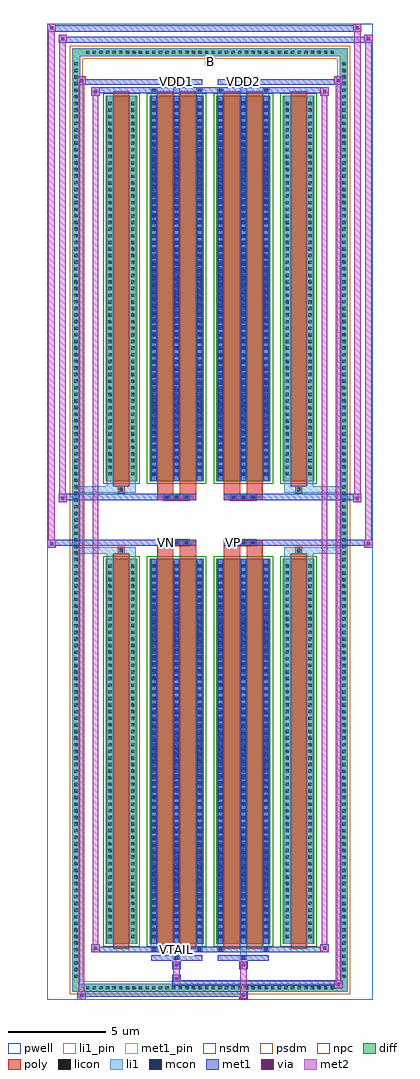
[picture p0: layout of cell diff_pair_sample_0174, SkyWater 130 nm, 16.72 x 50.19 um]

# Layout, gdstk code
import gdstk
lib = gdstk.Library(unit=1e-6, precision=5e-09)
def R(c, l, rs):  # rectangles x0, y0, x1, y1
    for r in rs: c.add(gdstk.rectangle(r[:2], r[2:], *l))
def A(c, l, x, y, w, h, nx, ny, dx, dy):  # array of equal rectangles
    R(c, l, [(x+i*dx, y+j*dy, x+i*dx+w, y+j*dy+h) for i in range(nx) for j in range(ny)])
def P(c, l, *ps):  # polygons
    for p in ps: c.add(gdstk.Polygon(p, *l))
pwell = (64, 44)
diff = (65, 20)
poly = (66, 20)
licon = (66, 44)
li1_pin = (67, 16)
li1 = (67, 20)
mcon = (67, 44)
met1_pin = (68, 16)
met1 = (68, 20)
via = (68, 44)
met2 = (69, 20)
nsdm = (93, 44)
psdm = (94, 20)
npc = (95, 20)

diff_pair_sample_0174 = lib.new_cell('diff_pair_sample_0174')
R(diff_pair_sample_0174, pwell, [(-8.36,-24.66,8.36,25.53), (-5.68,-22.85,-0.01,-0.805), (0.01,-22.85,5.68,-0.805), (-5.68,0.805,-0.01,22.85), (0.01,0.805,5.68,22.85)])
A(diff_pair_sample_0174, diff, -6.495, -24.26, 0.41, 0.41, 38, 2, 0.34, 48.11)
A(diff_pair_sample_0174, diff, -7.09, -23.665, 0.41, 0.41, 1, 139, 0, 0.34)
A(diff_pair_sample_0174, diff, 6.68, -23.665, 0.41, 0.41, 1, 139, 0, 0.34)
R(diff_pair_sample_0174, diff, [(-6.495,-24.26,6.495,-23.85), (-7.09,-23.665,-6.68,23.665), (6.68,-23.665,7.09,23.665), (-5.37,-21.805,-3.75,-1.985), (-3.11,-21.805,-0.32,-1.985), (0.32,-21.805,3.11,-1.985), (3.75,-21.805,5.37,-1.985), (-5.37,1.985,-3.75,21.805), (-3.11,1.985,-0.32,21.805), (0.32,1.985,3.11,21.805), (3.75,1.985,5.37,21.805), (-6.495,23.85,6.495,24.26)])
P(diff_pair_sample_0174, diff, [(7.09,24.26),(-7.09,24.26),(-7.09,-23.85),(-6.68,-23.85),(-6.68,23.85),(6.68,23.85),(6.68,-23.85),(-6.68,-23.85),(-7.09,-23.85),(-7.09,-24.26),(7.09,-24.26)])
A(diff_pair_sample_0174, poly, -2.38, -1.335, 0.33, 0.33, 3, 2, 0.5, 2.34)
A(diff_pair_sample_0174, poly, 1.05, -1.335, 0.33, 0.33, 3, 2, 0.5, 2.34)
R(diff_pair_sample_0174, poly, [(-4.98,-22.055,-4.14,-1.735), (-2.72,-22.055,-1.88,-1.735), (-1.55,-22.055,-0.71,-1.735), (0.71,-22.055,1.55,-1.735), (1.88,-22.055,2.72,-1.735), (4.14,-22.055,4.98,-1.735), (-4.725,-1.735,-4.395,-1.405), (-4.725,-1.735,-4.395,-1.405), (-2.72,-1.735,-1.88,-1.335), (-1.55,-1.735,-0.71,-1.335), (0.71,-1.735,1.55,-1.335), (1.88,-1.735,2.72,-1.335), (4.395,-1.735,4.725,-1.405), (4.395,-1.735,4.725,-1.405), (-2.72,-1.335,-0.71,-1.005), (0.71,-1.335,2.72,-1.005), (-2.72,1.005,-0.71,1.335), (0.71,1.005,2.72,1.335), (-2.72,1.335,-1.88,1.735), (-1.55,1.335,-0.71,1.735), (0.71,1.335,1.55,1.735), (1.88,1.335,2.72,1.735), (-4.725,1.405,-4.395,1.735), (-4.725,1.405,-4.395,1.735), (4.395,1.405,4.725,1.735), (4.395,1.405,4.725,1.735), (-4.98,1.735,-4.14,22.055), (-2.72,1.735,-1.88,22.055), (-1.55,1.735,-0.71,22.055), (0.71,1.735,1.55,22.055), (1.88,1.735,2.72,22.055), (4.14,1.735,4.98,22.055)])
A(diff_pair_sample_0174, licon, -6.375, -24.14, 0.17, 0.17, 38, 2, 0.34, 48.11)
A(diff_pair_sample_0174, licon, -6.97, -23.545, 0.17, 0.17, 1, 139, 0, 0.34)
A(diff_pair_sample_0174, licon, 6.8, -23.545, 0.17, 0.17, 1, 139, 0, 0.34)
A(diff_pair_sample_0174, licon, -5.23, -21.5, 0.17, 0.17, 1, 57, 0, 0.34)
A(diff_pair_sample_0174, licon, -4.06, -21.5, 0.17, 0.17, 1, 57, 0, 0.34)
A(diff_pair_sample_0174, licon, -2.97, -21.5, 0.17, 0.17, 3, 57, 1.17, 0.34)
A(diff_pair_sample_0174, licon, 0.46, -21.5, 0.17, 0.17, 3, 57, 1.17, 0.34)
A(diff_pair_sample_0174, licon, 3.89, -21.5, 0.17, 0.17, 1, 57, 0, 0.34)
A(diff_pair_sample_0174, licon, 5.06, -21.5, 0.17, 0.17, 1, 57, 0, 0.34)
A(diff_pair_sample_0174, licon, -2.3, -1.255, 0.17, 0.17, 3, 2, 0.5, 2.34)
A(diff_pair_sample_0174, licon, 1.13, -1.255, 0.17, 0.17, 3, 2, 0.5, 2.34)
A(diff_pair_sample_0174, licon, -5.23, 2.29, 0.17, 0.17, 1, 57, 0, 0.34)
A(diff_pair_sample_0174, licon, -4.06, 2.29, 0.17, 0.17, 1, 57, 0, 0.34)
A(diff_pair_sample_0174, licon, -2.97, 2.29, 0.17, 0.17, 3, 57, 1.17, 0.34)
A(diff_pair_sample_0174, licon, 0.46, 2.29, 0.17, 0.17, 3, 57, 1.17, 0.34)
A(diff_pair_sample_0174, licon, 3.89, 2.29, 0.17, 0.17, 1, 57, 0, 0.34)
A(diff_pair_sample_0174, licon, 5.06, 2.29, 0.17, 0.17, 1, 57, 0, 0.34)
R(diff_pair_sample_0174, licon, [(-4.645,-1.655,-4.475,-1.485), (4.475,-1.655,4.645,-1.485), (-4.645,1.485,-4.475,1.655), (4.475,1.485,4.645,1.655)])
R(diff_pair_sample_0174, li1_pin, [(-0.25,23.35,0.25,23.85)])
A(diff_pair_sample_0174, li1, -6.455, -24.22, 0.33, 0.33, 38, 2, 0.34, 48.11)
A(diff_pair_sample_0174, li1, -7.05, -23.625, 0.33, 0.33, 1, 139, 0, 0.34)
A(diff_pair_sample_0174, li1, 6.72, -23.625, 0.33, 0.33, 1, 139, 0, 0.34)
A(diff_pair_sample_0174, li1, -3.05, -21.805, 0.33, 19.82, 3, 2, 1.17, 23.79)
A(diff_pair_sample_0174, li1, 0.38, -21.805, 0.33, 19.82, 3, 2, 1.17, 23.79)
A(diff_pair_sample_0174, li1, -5.31, -21.58, 0.33, 0.33, 1, 57, 0, 0.34)
A(diff_pair_sample_0174, li1, -4.14, -21.58, 0.33, 0.33, 1, 57, 0, 0.34)
A(diff_pair_sample_0174, li1, -3.05, -21.58, 0.33, 0.33, 3, 57, 1.17, 0.34)
A(diff_pair_sample_0174, li1, 0.38, -21.58, 0.33, 0.33, 3, 57, 1.17, 0.34)
A(diff_pair_sample_0174, li1, 3.81, -21.58, 0.33, 0.33, 1, 57, 0, 0.34)
A(diff_pair_sample_0174, li1, 4.98, -21.58, 0.33, 0.33, 1, 57, 0, 0.34)
A(diff_pair_sample_0174, li1, -2.97, -21.52, 0.17, 0.17, 3, 54, 1.17, 0.36)
A(diff_pair_sample_0174, li1, -2.97, -21.52, 0.17, 19.25, 3, 2, 1.17, 23.79)
A(diff_pair_sample_0174, li1, 0.46, -21.52, 0.17, 0.17, 3, 54, 1.17, 0.36)
A(diff_pair_sample_0174, li1, 0.46, -21.52, 0.17, 19.25, 3, 2, 1.17, 23.79)
A(diff_pair_sample_0174, li1, -2.38, -1.335, 0.33, 0.33, 3, 2, 0.5, 2.34)
A(diff_pair_sample_0174, li1, 1.05, -1.335, 0.33, 0.33, 3, 2, 0.5, 2.34)
A(diff_pair_sample_0174, li1, -5.31, 2.21, 0.33, 0.33, 1, 57, 0, 0.34)
A(diff_pair_sample_0174, li1, -4.14, 2.21, 0.33, 0.33, 1, 57, 0, 0.34)
A(diff_pair_sample_0174, li1, -3.05, 2.21, 0.33, 0.33, 3, 57, 1.17, 0.34)
A(diff_pair_sample_0174, li1, 0.38, 2.21, 0.33, 0.33, 3, 57, 1.17, 0.34)
A(diff_pair_sample_0174, li1, 3.81, 2.21, 0.33, 0.33, 1, 57, 0, 0.34)
A(diff_pair_sample_0174, li1, 4.98, 2.21, 0.33, 0.33, 1, 57, 0, 0.34)
A(diff_pair_sample_0174, li1, -2.97, 2.27, 0.17, 0.17, 3, 54, 1.17, 0.36)
A(diff_pair_sample_0174, li1, 0.46, 2.27, 0.17, 0.17, 3, 54, 1.17, 0.36)
R(diff_pair_sample_0174, li1, [(-7.09,-24.26,-6.68,-23.85), (-7.09,-24.26,-6.68,-23.85), (-6.68,-24.26,6.68,-23.85), (6.68,-24.26,7.09,-23.85), (6.68,-24.26,7.09,-23.85), (-7.09,-23.85,-6.68,23.85), (6.68,-23.85,7.09,23.85), (-1.88,-22.61,-1.55,-21.805), (-1.8,-22.61,-1.63,-22.44), (1.55,-22.61,1.88,-21.805), (1.63,-22.61,1.8,-22.44), (-3.05,-22.18,-2.72,-21.805), (-2.97,-22.18,-2.8,-22.01), (-0.71,-22.18,-0.38,-21.805), (-0.63,-22.18,-0.46,-22.01), (0.38,-22.18,0.71,-21.805), (0.46,-22.18,0.63,-22.01), (2.72,-22.18,3.05,-21.805), (2.8,-22.18,2.97,-22.01), (-5.31,-21.805,-4.98,-1.985), (-4.14,-21.805,-3.81,-1.985), (3.81,-21.805,4.14,-1.985), (4.98,-21.805,5.31,-1.985), (-5.31,-1.985,-4.98,-1.405), (-4.14,-1.985,-3.81,-1.405), (3.81,-1.985,4.14,-1.405), (4.98,-1.985,5.31,-1.405), (-7.09,-1.735,-4.725,-1.405), (-5.31,-1.735,-4.725,-1.405), (-4.725,-1.735,-4.395,-1.405), (-4.395,-1.735,-3.81,-1.405), (3.81,-1.735,4.395,-1.405), (4.395,-1.735,4.725,-1.405), (4.395,-1.735,7.09,-1.405), (4.725,-1.735,5.31,-1.405), (-7.09,1.405,-4.725,1.735), (-5.31,1.405,-4.725,1.735), (-5.31,1.405,-4.98,1.985), (-4.725,1.405,-4.395,1.735), (-4.395,1.405,-3.81,1.735), (-4.14,1.405,-3.81,1.985), (3.81,1.405,4.395,1.735), (3.81,1.405,4.14,1.985), (4.395,1.405,4.725,1.735), (4.395,1.405,7.09,1.735), (4.725,1.405,5.31,1.735), (4.98,1.405,5.31,1.985), (-5.31,1.985,-4.98,21.805), (-4.14,1.985,-3.81,21.805), (3.81,1.985,4.14,21.805), (4.98,1.985,5.31,21.805), (-3.05,21.805,-2.72,22.18), (-1.88,21.805,-1.55,22.61), (-0.71,21.805,-0.38,22.18), (0.38,21.805,0.71,22.18), (1.55,21.805,1.88,22.61), (2.72,21.805,3.05,22.18), (-2.97,22.01,-2.8,22.18), (-0.63,22.01,-0.46,22.18), (0.46,22.01,0.63,22.18), (2.8,22.01,2.97,22.18), (-1.8,22.44,-1.63,22.61), (1.63,22.44,1.8,22.61), (-7.09,23.85,-6.68,24.26), (-7.09,23.85,-6.68,24.26), (-6.68,23.85,6.68,24.26), (6.68,23.85,7.09,24.26), (6.68,23.85,7.09,24.26)])
A(diff_pair_sample_0174, mcon, -2.97, -21.52, 0.17, 0.17, 3, 54, 1.17, 0.36)
A(diff_pair_sample_0174, mcon, 0.46, -21.52, 0.17, 0.17, 3, 54, 1.17, 0.36)
A(diff_pair_sample_0174, mcon, -2.3, -1.255, 0.17, 0.17, 3, 2, 0.5, 2.34)
A(diff_pair_sample_0174, mcon, 1.13, -1.255, 0.17, 0.17, 3, 2, 0.5, 2.34)
A(diff_pair_sample_0174, mcon, -2.97, 2.27, 0.17, 0.17, 3, 54, 1.17, 0.36)
A(diff_pair_sample_0174, mcon, 0.46, 2.27, 0.17, 0.17, 3, 54, 1.17, 0.36)
R(diff_pair_sample_0174, mcon, [(-1.8,-22.61,-1.63,-22.44), (1.63,-22.61,1.8,-22.44), (-2.97,-22.18,-2.8,-22.01), (-0.63,-22.18,-0.46,-22.01), (0.46,-22.18,0.63,-22.01), (2.8,-22.18,2.97,-22.01), (-2.97,22.01,-2.8,22.18), (-0.63,22.01,-0.46,22.18), (0.46,22.01,0.63,22.18), (2.8,22.01,2.97,22.18), (-1.8,22.44,-1.63,22.61), (1.63,22.44,1.8,22.61)])
R(diff_pair_sample_0174, met1_pin, [(-1.85,-22.22,-1.58,-21.95), (-2.35,-1.295,-2.08,-1.025), (1.08,-1.295,1.35,-1.025), (-1.85,22.4,-1.58,22.67), (1.58,22.4,1.85,22.67)])
A(diff_pair_sample_0174, met1, -3.03, -21.805, 0.29, 19.82, 3, 2, 1.17, 23.79)
A(diff_pair_sample_0174, met1, 0.4, -21.805, 0.29, 19.82, 3, 2, 1.17, 23.79)
A(diff_pair_sample_0174, met1, -3.03, -21.58, 0.29, 0.29, 3, 54, 1.17, 0.36)
A(diff_pair_sample_0174, met1, 0.4, -21.58, 0.29, 0.29, 3, 54, 1.17, 0.36)
A(diff_pair_sample_0174, met1, -2.36, -1.315, 0.29, 0.29, 3, 2, 0.5, 2.34)
A(diff_pair_sample_0174, met1, 1.07, -1.315, 0.29, 0.29, 3, 2, 0.5, 2.34)
A(diff_pair_sample_0174, met1, -3.03, 2.21, 0.29, 0.29, 3, 54, 1.17, 0.36)
A(diff_pair_sample_0174, met1, 0.4, 2.21, 0.29, 0.29, 3, 54, 1.17, 0.36)
R(diff_pair_sample_0174, met1, [(-6.82,-24.66,-6.39,-24.23), (1.5,-24.66,1.93,-24.23), (-6.82,-24.52,1.93,-24.23), (6.39,-24.09,6.82,-23.66), (-1.93,-23.95,6.82,-23.66), (-1.93,-23.81,-1.5,-23.38), (-1.93,-23.1,-1.5,-22.67), (1.5,-23.1,1.93,-22.67), (-3.03,-22.67,-0.4,-22.38), (-1.86,-22.67,-1.57,-22.38), (0.4,-22.67,3.03,-22.38), (1.57,-22.67,1.86,-22.38), (-6.11,-22.24,-5.68,-21.81), (-6.11,-22.24,-3.03,-21.95), (-3.03,-22.24,-2.74,-21.95), (-3.03,-22.24,-0.4,-21.95), (-0.69,-22.24,-0.4,-21.95), (-0.4,-22.24,0.4,-21.95), (0.4,-22.24,0.69,-21.95), (0.4,-22.24,3.03,-21.95), (2.74,-22.24,3.03,-21.95), (3.03,-22.24,6.11,-21.95), (5.68,-22.24,6.11,-21.81), (-8.36,-1.435,-7.93,-1.005), (7.93,-1.435,8.36,-1.005), (-8.36,-1.335,-0.71,-1.005), (-2.72,-1.335,-0.71,-1.005), (0.71,-1.335,2.72,-1.005), (0.71,-1.335,8.36,-1.005), (-7.79,0.905,-7.36,1.335), (7.36,0.905,7.79,1.335), (-7.79,1.005,-2.72,1.335), (-2.72,1.005,-0.71,1.335), (0.71,1.005,2.72,1.335), (2.72,1.005,7.79,1.335), (-6.11,21.81,-5.68,22.24), (5.68,21.81,6.11,22.24), (-6.11,21.95,-3.03,22.24), (-3.03,21.95,-2.74,22.24), (-3.03,21.95,-0.4,22.24), (-0.69,21.95,-0.4,22.24), (-0.4,21.95,0.4,22.24), (0.4,21.95,0.69,22.24), (0.4,21.95,3.03,22.24), (2.74,21.95,3.03,22.24), (3.03,21.95,6.11,22.24), (-6.82,22.38,-6.39,22.81), (-6.82,22.38,-3.03,22.67), (-3.03,22.38,-0.4,22.67), (-1.86,22.38,-1.57,22.67), (0.4,22.38,3.03,22.67), (1.57,22.38,1.86,22.67), (3.03,22.38,6.82,22.67), (6.39,22.38,6.82,22.81), (-7.79,24.53,-7.36,24.96), (-7.79,24.53,-5.68,24.86), (-5.68,24.53,5.68,24.86), (5.68,24.53,8.36,24.86), (7.93,24.53,8.36,24.96), (-8.36,25.1,-7.93,25.53), (-8.36,25.1,-5.68,25.43), (-5.68,25.1,5.68,25.43), (5.68,25.1,7.79,25.43), (7.36,25.1,7.79,25.53)])
R(diff_pair_sample_0174, via, [(-6.68,-24.52,-6.53,-24.37), (1.64,-24.52,1.79,-24.37), (6.53,-23.95,6.68,-23.8), (-1.79,-23.67,-1.64,-23.52), (-1.79,-22.96,-1.64,-22.81), (1.64,-22.96,1.79,-22.81), (-5.97,-22.1,-5.82,-21.95), (5.82,-22.1,5.97,-21.95), (-8.22,-1.295,-8.07,-1.145), (8.07,-1.295,8.22,-1.145), (-7.65,1.045,-7.5,1.195), (7.5,1.045,7.65,1.195), (-5.97,21.95,-5.82,22.1), (5.82,21.95,5.97,22.1), (-6.68,22.52,-6.53,22.67), (6.53,22.52,6.68,22.67), (-7.65,24.67,-7.5,24.82), (8.07,24.67,8.22,24.82), (-8.22,25.24,-8.07,25.39), (7.5,25.24,7.65,25.39)])
R(diff_pair_sample_0174, met2, [(-6.82,-24.66,-6.39,-24.23), (-6.75,-24.66,-6.46,22.81), (-6.46,-24.66,-6.39,-24.23), (-6.77,-24.61,-6.44,-24.28), (1.55,-24.61,1.88,-24.28), (1.55,-24.28,1.88,-23.05), (6.39,-24.09,6.82,-23.66), (6.46,-24.09,6.75,22.81), (6.75,-24.09,6.82,-23.66), (6.44,-24.04,6.77,-23.71), (-1.88,-23.76,-1.55,-23.43), (-1.88,-23.43,-1.55,-23.05), (-1.88,-23.05,-1.55,-22.72), (1.55,-23.05,1.88,-22.72), (-6.11,-22.24,-5.68,-21.81), (-6.04,-22.24,-5.75,22.24), (-5.75,-22.24,-5.68,-21.81), (5.68,-22.24,6.11,-21.81), (5.75,-22.24,6.04,22.24), (6.04,-22.24,6.11,-21.81), (-6.06,-22.19,-5.73,-21.86), (5.73,-22.19,6.06,-21.86), (-8.36,-1.435,-7.93,-1.005), (-8.31,-1.435,-7.98,25.53), (-7.98,-1.435,-7.93,-1.005), (7.93,-1.435,8.36,-1.005), (7.98,-1.435,8.31,24.96), (8.31,-1.435,8.36,-1.005), (-8.31,-1.385,-7.98,-1.055), (7.98,-1.385,8.31,-1.055), (-7.79,0.905,-7.36,1.335), (-7.74,0.905,-7.41,24.96), (-7.41,0.905,-7.36,1.335), (7.36,0.905,7.79,1.335), (7.41,0.905,7.74,25.53), (7.74,0.905,7.79,1.335), (-7.74,0.955,-7.41,1.285), (7.41,0.955,7.74,1.285), (-6.11,21.81,-5.68,22.24), (-5.75,21.81,-5.68,22.24), (5.68,21.81,6.11,22.24), (6.04,21.81,6.11,22.24), (-6.06,21.86,-5.73,22.19), (5.73,21.86,6.06,22.19), (-6.82,22.38,-6.39,22.81), (-6.46,22.38,-6.39,22.81), (6.39,22.38,6.82,22.81), (6.75,22.38,6.82,22.81), (-6.77,22.43,-6.44,22.76), (6.44,22.43,6.77,22.76), (-7.79,24.53,-7.36,24.96), (-7.41,24.53,-7.36,24.96), (7.93,24.53,8.36,24.96), (8.31,24.53,8.36,24.96), (-7.74,24.58,-7.41,24.91), (7.98,24.58,8.31,24.91), (-8.36,25.1,-7.93,25.53), (-7.98,25.1,-7.93,25.53), (7.36,25.1,7.79,25.53), (7.74,25.1,7.79,25.53), (-8.31,25.15,-7.98,25.48), (7.41,25.15,7.74,25.48)])
R(diff_pair_sample_0174, nsdm, [(-5.5,-21.935,-3.62,-1.855), (-3.24,-21.935,-0.19,-1.855), (0.19,-21.935,3.24,-1.855), (3.62,-21.935,5.5,-1.855), (-5.5,1.855,-3.62,21.935), (-3.24,1.855,-0.19,21.935), (0.19,1.855,3.24,21.935), (3.62,1.855,5.5,21.935)])
P(diff_pair_sample_0174, psdm, [(7.22,24.39),(-7.22,24.39),(-7.22,-23.72),(-6.55,-23.72),(-6.55,23.72),(6.55,23.72),(6.55,-23.72),(-6.55,-23.72),(-7.22,-23.72),(-7.22,-24.39),(7.22,-24.39)])
A(diff_pair_sample_0174, npc, -2.4, -1.355, 0.37, 0.37, 3, 2, 0.5, 2.34)
A(diff_pair_sample_0174, npc, 1.03, -1.355, 0.37, 0.37, 3, 2, 0.5, 2.34)
R(diff_pair_sample_0174, npc, [(-4.745,-1.755,-4.375,-1.385), (4.375,-1.755,4.745,-1.385), (-2.4,-1.355,-1.53,-0.985), (-2.4,-1.355,-1.53,-0.985), (-1.9,-1.355,-1.03,-0.985), (-1.9,-1.355,-1.03,-0.985), (1.03,-1.355,1.9,-0.985), (1.03,-1.355,1.9,-0.985), (1.53,-1.355,2.4,-0.985), (1.53,-1.355,2.4,-0.985), (-2.4,0.985,-1.53,1.355), (-2.4,0.985,-1.53,1.355), (-1.9,0.985,-1.03,1.355), (-1.9,0.985,-1.03,1.355), (1.03,0.985,1.9,1.355), (1.03,0.985,1.9,1.355), (1.53,0.985,2.4,1.355), (1.53,0.985,2.4,1.355), (-4.745,1.385,-4.375,1.755), (4.375,1.385,4.745,1.755)])
diff_pair_sample_0174.add(gdstk.Label('VTAIL', (-1.715,-22.085), layer=68, texttype=5))
diff_pair_sample_0174.add(gdstk.Label('VN', (-2.215,-1.16), layer=68, texttype=5))
diff_pair_sample_0174.add(gdstk.Label('VP', (1.215,-1.16), layer=68, texttype=5))
diff_pair_sample_0174.add(gdstk.Label('B', (0,23.6), layer=67, texttype=5))
diff_pair_sample_0174.add(gdstk.Label('VDD2', (1.715,22.535), layer=68, texttype=5))
diff_pair_sample_0174.add(gdstk.Label('VDD1', (-1.715,22.535), layer=68, texttype=5))

lib.write_gds('diff_pair_sample_0174.gds')
